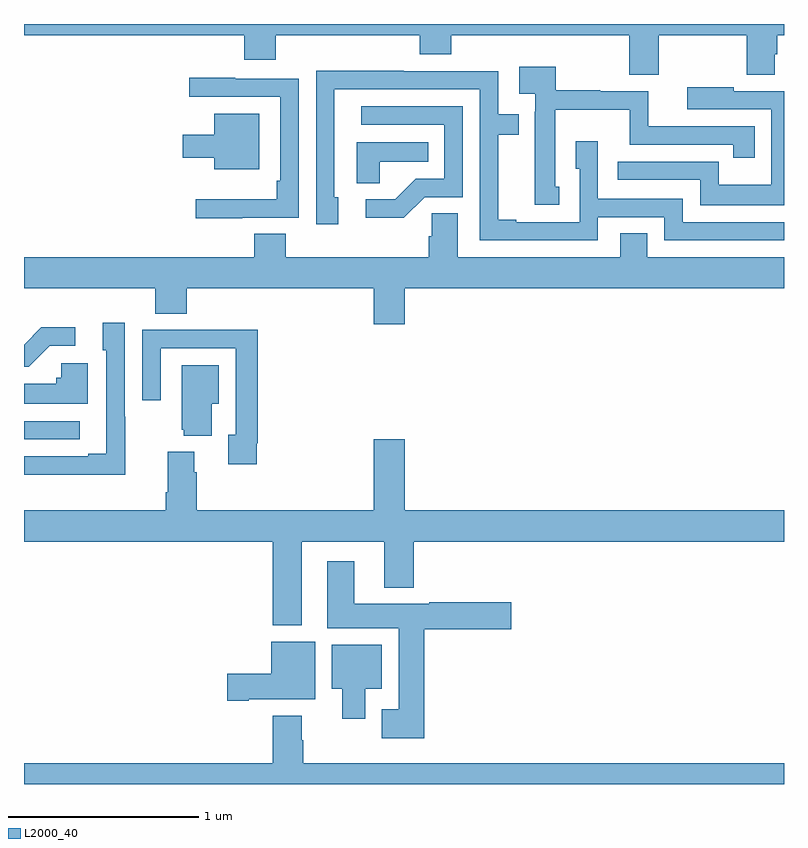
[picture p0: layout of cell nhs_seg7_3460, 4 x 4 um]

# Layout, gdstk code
import gdstk
lib = gdstk.Library(unit=1e-6, precision=1e-09)
def R(c, l, rs):  # rectangles x0, y0, x1, y1
    for r in rs: c.add(gdstk.rectangle(r[:2], r[2:], *l))
def P(c, l, *ps):  # polygons
    for p in ps: c.add(gdstk.Polygon(p, *l))
L2000_40 = (2000, 40)

nhs_seg7_3460 = lib.new_cell('nhs_seg7_3460')
R(nhs_seg7_3460, L2000_40, [(331,1007.814,331.294,1007.91)])
P(nhs_seg7_3460, L2000_40, [(334.341,1009.94),(334.804,1009.94),(334.804,1009.732),(334.951,1009.732),(334.951,1009.842),(334.964,1009.842),(334.964,1009.94),(335,1009.94),(335,1010),(331,1010),(331,1009.94),(332.159,1009.94),(332.159,1009.812),(332.324,1009.812),(332.324,1009.94),(333.083,1009.94),(333.083,1009.841),(333.248,1009.841),(333.248,1009.94),(334.186,1009.94),(334.186,1009.732),(334.341,1009.732)],
  [(333.817,1009.143),(333.796,1009.143),(333.796,1009.55),(334.187,1009.55),(334.187,1009.365),(334.734,1009.365),(334.734,1009.296),(334.847,1009.296),(334.847,1009.461),(334.286,1009.461),(334.286,1009.647),(334.032,1009.647),(334.032,1009.652),(333.799,1009.652),(333.799,1009.774),(333.606,1009.774),(333.606,1009.634),(333.69,1009.634),(333.69,1009.538),(333.689,1009.538),(333.689,1009.05),(333.817,1009.05)],
  [(334.02,1008.984),(334.371,1008.984),(334.371,1008.861),(335,1008.861),(335,1008.957),(334.467,1008.957),(334.467,1009.08),(334.02,1009.08),(334.02,1009.384),(333.905,1009.384),(333.905,1009.239),(333.924,1009.239),(333.924,1008.957),(333.592,1008.957),(333.592,1008.97),(333.497,1008.97),(333.497,1009.416),(333.604,1009.416),(333.604,1009.524),(333.495,1009.524),(333.495,1009.752),(332.999,1009.752),(332.999,1009.754),(332.538,1009.754),(332.538,1008.945),(332.653,1008.945),(332.653,1009.089),(332.634,1009.089),(332.634,1009.656),(333.399,1009.656),(333.399,1008.861),(334.02,1008.861)],
  [(332.149,1008.981),(332.445,1008.981),(332.445,1009.713),(332.113,1009.713),(332.113,1009.717),(331.869,1009.717),(331.869,1009.617),(332.349,1009.617),(332.349,1009.174),(332.329,1009.174),(332.329,1009.078),(331.905,1009.078),(331.905,1008.977),(332.149,1008.977)],
  [(335,1009.647),(334.735,1009.647),(334.735,1009.666),(334.491,1009.666),(334.491,1009.551),(334.932,1009.551),(334.932,1009.153),(334.656,1009.153),(334.656,1009.274),(334.553,1009.274),(334.553,1009.275),(334.125,1009.275),(334.125,1009.179),(334.56,1009.179),(334.56,1009.046),(335,1009.046)],
  [(333.108,1009.089),(333.309,1009.089),(333.309,1009.566),(332.775,1009.566),(332.775,1009.47),(333.213,1009.47),(333.213,1009.185),(333.063,1009.185),(332.955,1009.077),(332.799,1009.077),(332.799,1008.98),(332.998,1008.98)],
  [(332.239,1009.528),(332,1009.528),(332,1009.417),(331.836,1009.417),(331.836,1009.295),(332,1009.295),(332,1009.235),(332.239,1009.235)],
  [(332.872,1009.274),(333.128,1009.274),(333.128,1009.378),(332.75,1009.378),(332.75,1009.162),(332.872,1009.162)],
  [(333.004,1008.608),(335,1008.608),(335,1008.772),(334.279,1008.772),(334.279,1008.899),(334.139,1008.899),(334.139,1008.772),(333.283,1008.772),(333.283,1009.004),(333.145,1009.004),(333.145,1008.884),(333.131,1008.884),(333.131,1008.772),(332.378,1008.772),(332.378,1008.896),(332.213,1008.896),(332.213,1008.772),(331,1008.772),(331,1008.608),(331.691,1008.608),(331.691,1008.475),(331.856,1008.475),(331.856,1008.608),(332.84,1008.608),(332.84,1008.42),(333.004,1008.42)],
  [(331.533,1007.933),(331.53,1007.933),(331.53,1008.427),(331.415,1008.427),(331.415,1008.282),(331.434,1008.282),(331.434,1007.737),(331.337,1007.737),(331.337,1007.724),(331,1007.724),(331,1007.628),(331.069,1007.628),(331.069,1007.627),(331.533,1007.627)],
  [(331.135,1008.306),(331.27,1008.306),(331.27,1008.404),(331.091,1008.404),(331,1008.313),(331,1008.195),(331.024,1008.195)],
  [(332.224,1007.794),(332.231,1007.794),(332.231,1008.392),(331.939,1008.392),(331.939,1008.39),(331.623,1008.39),(331.623,1008.021),(331.719,1008.021),(331.719,1008.294),(332.115,1008.294),(332.115,1007.838),(332.075,1007.838),(332.075,1007.682),(332.224,1007.682)],
  [(331.336,1008.214),(331.197,1008.214),(331.197,1008.138),(331.171,1008.138),(331.171,1008.106),(331,1008.106),(331,1008.002),(331.336,1008.002)],
  [(331.987,1008.002),(332.026,1008.002),(332.026,1008.205),(331.829,1008.205),(331.829,1007.865),(331.841,1007.865),(331.841,1007.834),(331.987,1007.834)],
  [(332.461,1007.276),(332.897,1007.276),(332.897,1007.033),(333.05,1007.033),(333.05,1007.276),(335,1007.276),(335,1007.44),(333.004,1007.44),(333.004,1007.815),(332.84,1007.815),(332.84,1007.44),(331.91,1007.44),(331.91,1007.642),(331.897,1007.642),(331.897,1007.749),(331.757,1007.749),(331.757,1007.536),(331.745,1007.536),(331.745,1007.44),(331,1007.44),(331,1007.276),(332.309,1007.276),(332.309,1006.835),(332.461,1006.835)],
  [(333.107,1006.814),(333.565,1006.814),(333.565,1006.956),(333.133,1006.956),(333.133,1006.948),(332.737,1006.948),(332.737,1007.173),(332.597,1007.173),(332.597,1006.82),(332.972,1006.82),(332.972,1006.393),(332.882,1006.393),(332.882,1006.241),(333.107,1006.241)],
  [(332.182,1006.445),(332.533,1006.445),(332.533,1006.75),(332.3,1006.75),(332.3,1006.58),(332.07,1006.58),(332.07,1006.438),(332.182,1006.438)],
  [(332.797,1006.502),(332.884,1006.502),(332.884,1006.732),(332.621,1006.732),(332.621,1006.502),(332.675,1006.502),(332.675,1006.344),(332.797,1006.344)],
  [(335,1006.108),(332.469,1006.108),(332.469,1006.229),(332.461,1006.229),(332.461,1006.36),(332.309,1006.36),(332.309,1006.108),(331,1006.108),(331,1006),(335,1006)])

lib.write_gds('nhs_seg7_3460.gds')
